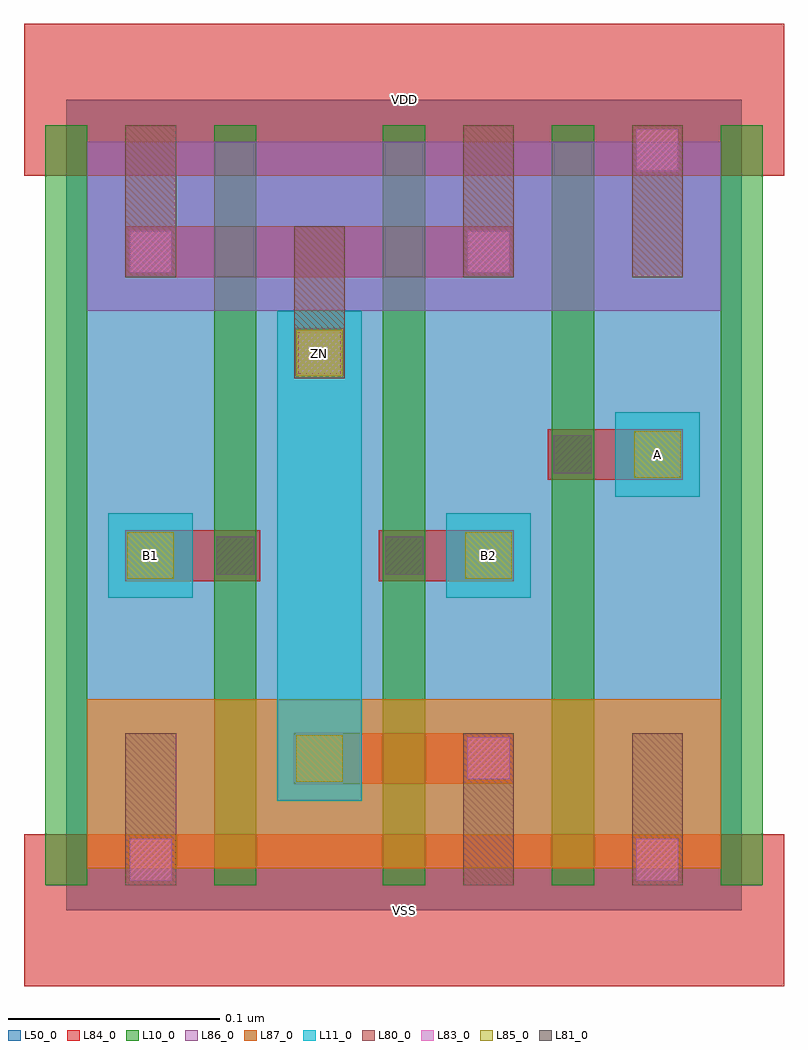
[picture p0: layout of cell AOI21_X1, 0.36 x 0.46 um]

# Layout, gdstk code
import gdstk
lib = gdstk.Library(unit=1e-6, precision=1e-09)
def R(c, l, rs):  # rectangles x0, y0, x1, y1
    for r in rs: c.add(gdstk.rectangle(r[:2], r[2:], *l))
def A(c, l, x, y, w, h, nx, ny, dx, dy):  # array of equal rectangles
    R(c, l, [(x+i*dx, y+j*dy, x+i*dx+w, y+j*dy+h) for i in range(nx) for j in range(ny)])
L10_0 = (10, 0)
L11_0 = (11, 0)
L50_0 = (50, 0)
L80_0 = (80, 0)
L81_0 = (81, 0)
L83_0 = (83, 0)
L84_0 = (84, 0)
L85_0 = (85, 0)
L86_0 = (86, 0)
L87_0 = (87, 0)

aoi21_x1 = lib.new_cell('AOI21_X1')
A(aoi21_x1, L10_0, -0.01, 0.012, 0.02, 0.36, 5, 1, 0.08, 0)
R(aoi21_x1, L11_0, [(0.1,0.052,0.14,0.284), (0.02,0.148,0.06,0.188), (0.18,0.148,0.22,0.188), (0.26,0.196,0.3,0.236)])
R(aoi21_x1, L50_0, [(0,0,0.32,0.384)])
R(aoi21_x1, L80_0, [(0.028,0.012,0.052,0.084), (0.188,0.012,0.212,0.084), (0.268,0.012,0.292,0.084), (0.108,0.252,0.132,0.324), (0.028,0.3,0.052,0.372), (0.188,0.3,0.212,0.372), (0.268,0.3,0.292,0.372)])
R(aoi21_x1, L81_0, [(0.071,0.159,0.089,0.177), (0.151,0.159,0.169,0.177), (0.231,0.207,0.249,0.225)])
R(aoi21_x1, L83_0, [(0.03,0.014,0.05,0.034), (0.27,0.014,0.29,0.034), (0.19,0.062,0.21,0.082), (0.11,0.254,0.13,0.274), (0.03,0.302,0.05,0.322), (0.19,0.302,0.21,0.322), (0.27,0.35,0.29,0.37)])
R(aoi21_x1, L84_0, [(-0.02,-0.036,0.34,0.036), (0.108,0.06,0.212,0.084), (0.028,0.156,0.092,0.18), (0.148,0.156,0.212,0.18), (0.228,0.204,0.292,0.228), (0.108,0.252,0.132,0.276), (0.028,0.3,0.212,0.324), (-0.02,0.348,0.34,0.42)])
R(aoi21_x1, L85_0, [(0.109,0.061,0.131,0.083), (0.029,0.157,0.051,0.179), (0.189,0.157,0.211,0.179), (0.269,0.205,0.291,0.227), (0.109,0.253,0.131,0.275)])
R(aoi21_x1, L86_0, [(0.01,0.284,0.31,0.364)])
R(aoi21_x1, L87_0, [(0.01,0.02,0.31,0.1)])
aoi21_x1.add(gdstk.Label('VDD', (0.16,0.384), layer=88, texttype=0))
aoi21_x1.add(gdstk.Label('VSS', (0.16,0), layer=88, texttype=0))
aoi21_x1.add(gdstk.Label('ZN', (0.12,0.264), layer=31, texttype=0))
aoi21_x1.add(gdstk.Label('A', (0.28,0.216), layer=31, texttype=0))
aoi21_x1.add(gdstk.Label('B2', (0.2,0.168), layer=31, texttype=0))
aoi21_x1.add(gdstk.Label('B1', (0.04,0.168), layer=31, texttype=0))

lib.write_gds('AOI21_X1.gds')
